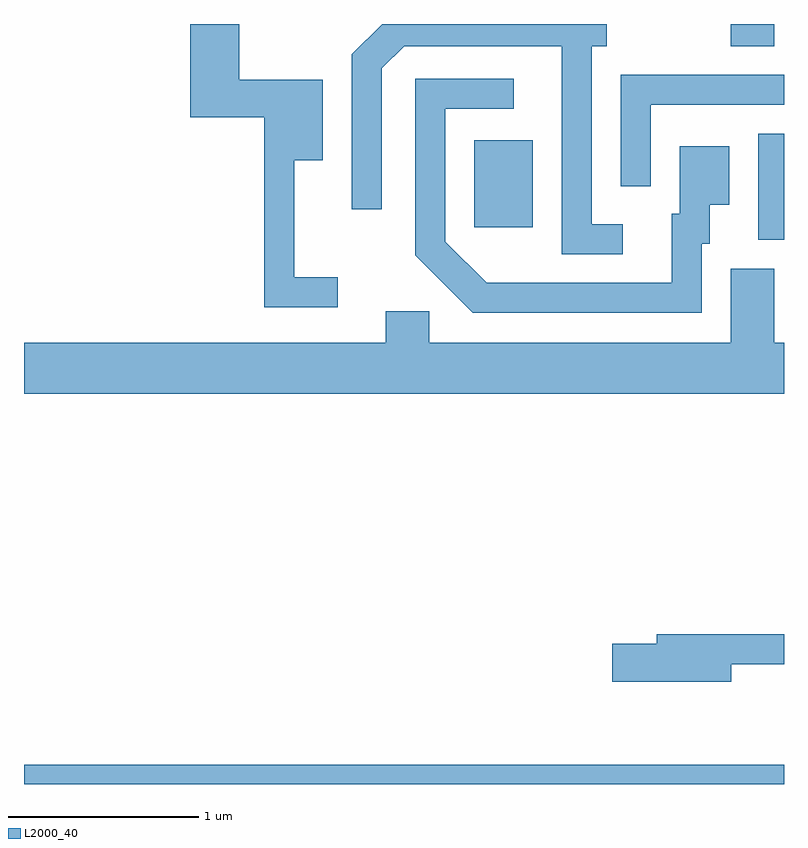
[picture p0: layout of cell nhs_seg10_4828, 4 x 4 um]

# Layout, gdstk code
import gdstk
lib = gdstk.Library(unit=1e-6, precision=1e-09)
def R(c, l, rs):  # rectangles x0, y0, x1, y1
    for r in rs: c.add(gdstk.rectangle(r[:2], r[2:], *l))
def P(c, l, *ps):  # polygons
    for p in ps: c.add(gdstk.Polygon(p, *l))
L2000_40 = (2000, 40)

nhs_seg10_4828 = lib.new_cell('nhs_seg10_4828')
R(nhs_seg10_4828, L2000_40, [(327.611,2118.522,331.611,2118.624), (331.476,2121.386,331.611,2121.944), (329.981,2121.451,330.289,2121.909), (331.331,2122.406,331.559,2122.522)])
P(nhs_seg10_4828, L2000_40, [(330.763,2121.469),(330.599,2121.469),(330.599,2122.406),(330.678,2122.406),(330.678,2122.522),(329.497,2122.522),(329.336,2122.362),(329.336,2121.548),(329.494,2121.548),(329.494,2122.289),(329.612,2122.406),(330.441,2122.406),(330.441,2121.311),(330.763,2121.311)],
  [(329.263,2121.189),(329.034,2121.189),(329.034,2121.806),(329.184,2121.806),(329.184,2122.229),(328.744,2122.229),(328.744,2122.522),(328.486,2122.522),(328.486,2122.031),(328.876,2122.031),(328.876,2121.031),(329.263,2121.031)],
  [(330.909,2122.096),(331.611,2122.096),(331.611,2122.254),(330.751,2122.254),(330.751,2121.668),(330.909,2121.668)],
  [(331.179,2121.366),(331.219,2121.366),(331.219,2121.571),(331.324,2121.571),(331.324,2121.879),(331.061,2121.879),(331.061,2121.524),(331.021,2121.524),(331.021,2121.159),(330.047,2121.159),(329.829,2121.377),(329.829,2122.076),(330.188,2122.076),(330.188,2122.234),(329.671,2122.234),(329.671,2121.304),(329.974,2121.001),(331.179,2121.001)],
  [(331.611,2120.844),(331.559,2120.844),(331.559,2121.234),(331.331,2121.234),(331.331,2120.844),(329.744,2120.844),(329.744,2121.009),(329.516,2121.009),(329.516,2120.844),(327.611,2120.844),(327.611,2120.576),(331.611,2120.576)],
  [(331.334,2119.151),(331.611,2119.151),(331.611,2119.309),(330.941,2119.309),(330.941,2119.259),(330.706,2119.259),(330.706,2119.061),(331.334,2119.061)])

lib.write_gds('nhs_seg10_4828.gds')
